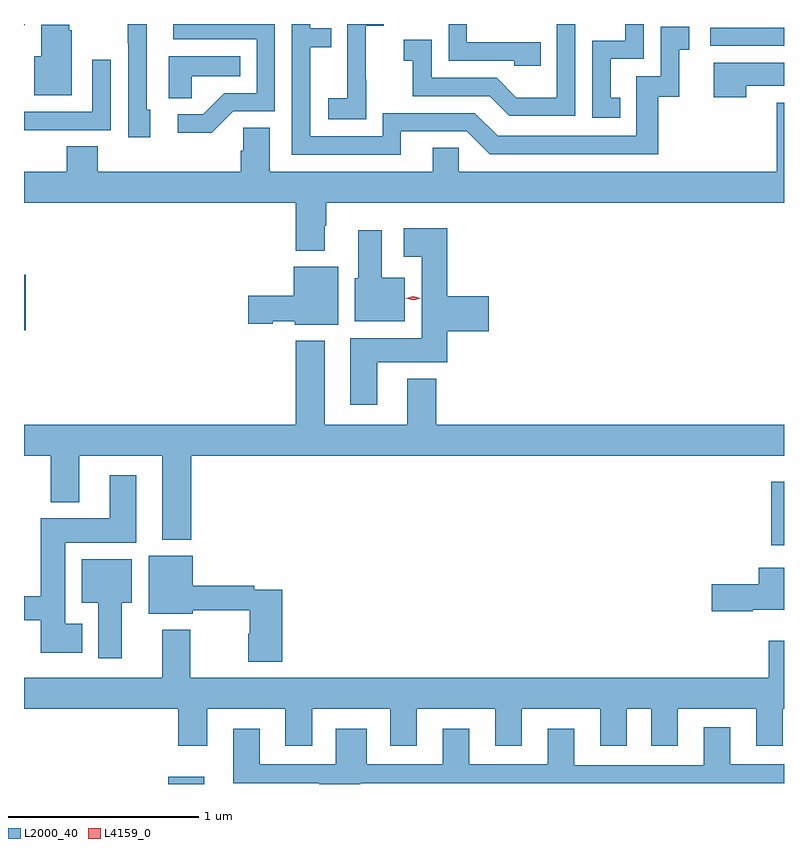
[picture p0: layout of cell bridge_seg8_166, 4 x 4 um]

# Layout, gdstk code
import gdstk
lib = gdstk.Library(unit=1e-6, precision=1e-09)
def R(c, l, rs):  # rectangles x0, y0, x1, y1
    for r in rs: c.add(gdstk.rectangle(r[:2], r[2:], *l))
def P(c, l, *ps):  # polygons
    for p in ps: c.add(gdstk.Polygon(p, *l))
L2000_40 = (2000, 40)
L4159_0 = (4159, 0)

bridge_seg8_166 = lib.new_cell('bridge_seg8_166')
R(bridge_seg8_166, L2000_40, [(589.823,1112.109,590.014,1112.146), (592.999,1113.366,593.065,1113.7), (589.065,1114.497,589.073,1114.79), (592.677,1115.994,593.065,1116.09), (589.065,1116.103,589.069,1116.109)])
P(bridge_seg8_166, L2000_40, [(591.785,1116.012),(591.396,1116.012),(591.396,1116.109),(591.3,1116.109),(591.3,1115.916),(591.645,1115.916),(591.645,1115.889),(591.785,1115.889)],
  [(590.865,1115.815),(590.864,1115.815),(590.864,1116.099),(590.959,1116.099),(590.959,1116.109),(590.766,1116.109),(590.766,1115.948),(590.765,1115.948),(590.765,1115.719),(590.667,1115.719),(590.667,1115.609),(590.865,1115.609)],
  [(592.202,1115.721),(592.153,1115.721),(592.153,1115.925),(592.326,1115.925),(592.326,1116.109),(592.23,1116.109),(592.23,1116.021),(592.056,1116.021),(592.056,1115.616),(592.202,1115.616)],
  [(589.729,1115.658),(589.71,1115.658),(589.71,1116.109),(589.612,1116.109),(589.612,1116.007),(589.614,1116.007),(589.614,1115.514),(589.729,1115.514)],
  [(590.166,1115.649),(590.385,1115.649),(590.385,1116.109),(589.851,1116.109),(589.851,1116.03),(590.289,1116.03),(590.289,1115.745),(590.12,1115.745),(590.009,1115.634),(589.875,1115.634),(589.875,1115.537),(590.053,1115.537)],
  [(591.049,1115.544),(591.396,1115.544),(591.516,1115.424),(592.403,1115.424),(592.403,1115.727),(592.514,1115.727),(592.514,1115.973),(592.567,1115.973),(592.567,1116.094),(592.416,1116.094),(592.416,1115.835),(592.287,1115.835),(592.287,1115.52),(591.558,1115.52),(591.438,1115.64),(590.952,1115.64),(590.952,1115.517),(590.571,1115.517),(590.571,1115.986),(590.681,1115.986),(590.681,1116.087),(590.571,1116.087),(590.571,1116.109),(590.475,1116.109),(590.475,1115.421),(591.049,1115.421)],
  [(591.966,1116.109),(591.87,1116.109),(591.87,1115.722),(591.656,1115.722),(591.552,1115.826),(591.21,1115.826),(591.21,1116.025),(591.063,1116.025),(591.063,1115.915),(591.112,1115.915),(591.112,1115.73),(591.515,1115.73),(591.62,1115.625),(591.966,1115.625)],
  [(589.315,1116.075),(589.304,1116.075),(589.304,1116.106),(589.157,1116.106),(589.157,1115.938),(589.118,1115.938),(589.118,1115.735),(589.315,1115.735)],
  [(589.947,1115.834),(590.204,1115.834),(590.204,1115.938),(589.826,1115.938),(589.826,1115.719),(589.947,1115.719)],
  [(589.205,1115.55),(589.521,1115.55),(589.521,1115.92),(589.425,1115.92),(589.425,1115.646),(589.065,1115.646),(589.065,1115.549),(589.205,1115.549)],
  [(592.865,1115.783),(593.065,1115.783),(593.065,1115.905),(592.694,1115.905),(592.694,1115.724),(592.865,1115.724)],
  [(590.647,1115.048),(590.655,1115.048),(590.655,1115.168),(593.065,1115.168),(593.065,1115.695),(593.027,1115.695),(593.027,1115.332),(591.354,1115.332),(591.354,1115.459),(591.215,1115.459),(591.215,1115.332),(590.359,1115.332),(590.359,1115.564),(590.22,1115.564),(590.22,1115.441),(590.207,1115.441),(590.207,1115.332),(589.454,1115.332),(589.454,1115.465),(589.289,1115.465),(589.289,1115.332),(589.065,1115.332),(589.065,1115.168),(590.495,1115.168),(590.495,1114.916),(590.647,1114.916)],
  [(590.923,1114.328),(591.293,1114.328),(591.293,1114.493),(591.511,1114.493),(591.511,1114.676),(591.293,1114.676),(591.293,1115.035),(591.063,1115.035),(591.063,1114.883),(591.158,1114.883),(591.158,1114.456),(590.783,1114.456),(590.783,1114.104),(590.923,1114.104)],
  [(591.07,1114.774),(590.947,1114.774),(590.947,1115.023),(590.825,1115.023),(590.825,1114.77),(590.807,1114.77),(590.807,1114.544),(591.07,1114.544)],
  [(590.719,1114.831),(590.486,1114.831),(590.486,1114.679),(590.244,1114.679),(590.244,1114.532),(590.373,1114.532),(590.373,1114.544),(590.49,1114.544),(590.49,1114.526),(590.719,1114.526)],
  [(589.946,1113.836),(593.065,1113.836),(593.065,1114),(591.236,1114),(591.236,1114.243),(591.083,1114.243),(591.083,1114),(590.647,1114),(590.647,1114.441),(590.495,1114.441),(590.495,1114),(589.065,1114),(589.065,1113.836),(589.205,1113.836),(589.205,1113.593),(589.357,1113.593),(589.357,1113.836),(589.793,1113.836),(589.793,1113.395),(589.946,1113.395)],
  [(589.372,1112.953),(589.282,1112.953),(589.282,1113.38),(589.657,1113.38),(589.657,1113.733),(589.517,1113.733),(589.517,1113.508),(589.153,1113.508),(589.153,1113.098),(589.065,1113.098),(589.065,1112.97),(589.153,1112.97),(589.153,1112.801),(589.372,1112.801)],
  [(590.423,1113.132),(590.276,1113.132),(590.276,1113.152),(589.954,1113.152),(589.954,1113.31),(589.721,1113.31),(589.721,1113.005),(589.954,1113.005),(589.954,1113.024),(590.252,1113.024),(590.252,1112.901),(590.245,1112.901),(590.245,1112.753),(590.423,1112.753)],
  [(589.579,1113.062),(589.633,1113.062),(589.633,1113.292),(589.37,1113.292),(589.37,1113.062),(589.457,1113.062),(589.457,1112.772),(589.579,1112.772)],
  [(592.901,1113.026),(593.065,1113.026),(593.065,1113.247),(592.931,1113.247),(592.931,1113.161),(592.686,1113.161),(592.686,1113.019),(592.901,1113.019)],
  [(590.029,1112.504),(590.441,1112.504),(590.441,1112.31),(590.581,1112.31),(590.581,1112.504),(590.993,1112.504),(590.993,1112.31),(591.133,1112.31),(591.133,1112.504),(591.545,1112.504),(591.545,1112.31),(591.685,1112.31),(591.685,1112.504),(592.097,1112.504),(592.097,1112.31),(592.237,1112.31),(592.237,1112.504),(592.367,1112.504),(592.367,1112.31),(592.507,1112.31),(592.507,1112.504),(592.919,1112.504),(592.919,1112.31),(593.059,1112.31),(593.059,1112.504),(593.065,1112.504),(593.065,1112.863),(592.985,1112.863),(592.985,1112.668),(589.941,1112.668),(589.941,1112.92),(589.793,1112.92),(589.793,1112.668),(589.065,1112.668),(589.065,1112.504),(589.877,1112.504),(589.877,1112.31),(590.029,1112.31)],
  [(590.835,1112.112),(593.065,1112.112),(593.065,1112.213),(592.783,1112.213),(592.783,1112.407),(592.643,1112.407),(592.643,1112.208),(591.961,1112.208),(591.961,1112.401),(591.821,1112.401),(591.821,1112.213),(591.409,1112.213),(591.409,1112.401),(591.269,1112.401),(591.269,1112.213),(590.869,1112.213),(590.869,1112.401),(590.705,1112.401),(590.705,1112.213),(590.305,1112.213),(590.305,1112.401),(590.165,1112.401),(590.165,1112.112),(590.618,1112.112),(590.618,1112.109),(590.835,1112.109)])
P(bridge_seg8_166, L4159_0, [(591.114,1114.656),(591.075,1114.666),(591.075,1114.666),(591.075,1114.666),(591.114,1114.676),(591.153,1114.666),(591.153,1114.666),(591.153,1114.666)])

lib.write_gds('bridge_seg8_166.gds')
